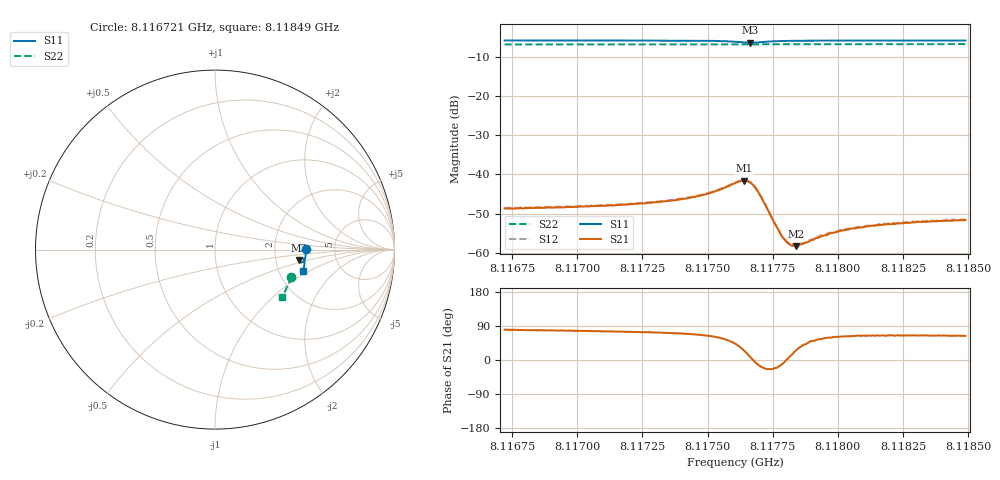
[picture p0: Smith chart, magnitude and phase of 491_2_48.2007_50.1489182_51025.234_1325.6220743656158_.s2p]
#  HZ  S  RI  R  50.00
! Rohde & Schwarz Vector Network Analyzer
! Rohde-Schwarz,ZNB20-2Port,1311601062101988,3.16
! Created: UTC 3/20/2024, 11:58:04 AM
! freq[Hz]  re:S11  im:S11  re:S21  im:S21  re:S12  im:S12  re:S22  im:S22
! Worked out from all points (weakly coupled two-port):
!   401 points, 8.116721 GHz to 8.11849 GHz, reference 50 ohm
!   highest |S21| = -41.58 dB at 8.117641 GHz (marker M1); lowest = -58.3 dB at 8.11784 GHz (marker M2)
!   lowest |S11| = -6.5 dB at 8.117663 GHz (marker M3), VSWR 2.80, Z = 136 - j20.5 ohm
!   |S11| at or under -10 dB: nowhere
!   |S22| runs from -6.9 to -6.8 dB; largest |S21 - S12| = 0.00022
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8.1167212e9  0.507 0.00531  0.000641 0.00364  0.000714 0.00366  0.4249 -0.1499
8.1170174e9  0.5061 -0.0177  0.000886 0.00381  0.000969 0.00386  0.4184 -0.1696
8.1171412e9  0.5054 -0.0276  0.00102 0.00392  0.00107 0.004  0.4154 -0.1775
8.1173136e9  0.5036 -0.0421  0.00133 0.00426  0.00141 0.00433  0.4108 -0.1888
8.1173799e9  0.5025 -0.0481  0.00158 0.00446  0.00164 0.00456  0.409 -0.1931
8.1174728e9  0.4996 -0.0575  0.00217 0.00492  0.00229 0.005  0.4063 -0.1993
8.1175347e9  0.4954 -0.0647  0.00305 0.00536  0.00314 0.00544  0.4046 -0.2031
8.1176054e9  0.483 -0.0715  0.00565 0.00533  0.00579 0.00539  0.4018 -0.2077
8.1176408e9  0.4726 -0.0669  0.00759 0.00346  0.00776 0.00344  0.4003 -0.2093
8.1176629e9  0.4696 -0.0583  0.00781 0.00116  0.00798 0.00116  0.3997 -0.2105
8.1176806e9  0.4723 -0.0512  0.00694 -0.000515  0.00707 -0.000545  0.3995 -0.2111
8.1176982e9  0.4781 -0.0474  0.00551 -0.00144  0.00559 -0.00146  0.3993 -0.212
8.1177734e9  0.495 -0.0542  0.00183 -0.000542  0.00187 -0.000579  0.3977 -0.2171
8.1177867e9  0.4961 -0.0562  0.00157 -0.000303  0.00162 -0.000319  0.3971 -0.2179
8.1178132e9  0.4975 -0.0601  0.00131 0.000171  0.0013 0.000151  0.3966 -0.2198
8.1178397e9  0.4983 -0.0636  0.0011 0.000526  0.00113 0.000538  0.3957 -0.2215
8.1179016e9  0.4989 -0.0707  0.00095 0.00111  0.000962 0.00115  0.3936 -0.2255
8.1179414e9  0.4989 -0.0747  0.000912 0.00137  0.000977 0.00139  0.3926 -0.2278
8.1180077e9  0.4984 -0.0809  0.000901 0.00166  0.000968 0.00172  0.3904 -0.232
8.1181182e9  0.497 -0.0904  0.000938 0.00198  0.000962 0.00201  0.3866 -0.2387
8.1181978e9  0.496 -0.0968  0.00097 0.00211  0.00102 0.00215  0.3838 -0.2438
8.1184896e9  0.491 -0.1192  0.00117 0.00236  0.00118 0.00239  0.373 -0.2614
